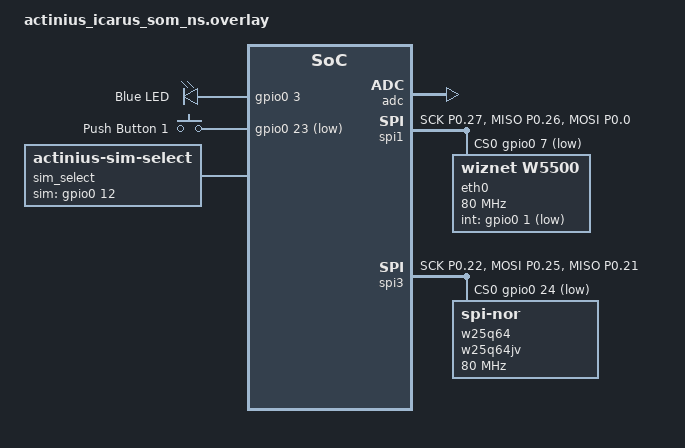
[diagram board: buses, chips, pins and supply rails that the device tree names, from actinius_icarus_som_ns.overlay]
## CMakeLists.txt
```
# SPDX-License-Identifier: Apache-2.0

cmake_minimum_required(VERSION 3.20.0)

set(PM_STATIC_YML_FILE ${CMAKE_CURRENT_SOURCE_DIR}/pm_static.yml)
#set(mcuboot_key_file ${CMAKE_CURRENT_SOURCE_DIR}/mcuboot.pem)
#set(mcuboot_CONFIG_BOOT_SIGNATURE_KEY_FILE "\"${mcuboot_key_file}\"")

find_package(Zephyr REQUIRED HINTS $ENV{ZEPHYR_BASE})
project(nRF9160_LTE_Ethernet_Gateway)

target_sources(app PRIVATE src/main.c)

target_sources(app PRIVATE src/nrf91/nrf91_lte.c)
target_sources(app PRIVATE src/nrf91/nrf91_at_commands.c)
target_sources(app PRIVATE src/nrf91/nrf91_util.c)

target_sources(app PRIVATE src/gateway.c)
target_sources(app PRIVATE src/arp_cache.c)
target_sources(app PRIVATE src/pmap.c)
```

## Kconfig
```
#
# Copyright (c) 2019 Nordic Semiconductor
#
# SPDX-License-Identifier: LicenseRef-Nordic-5-Clause
#

source "Kconfig.zephyr"

menu "nRF9160"

config SIM_SAKURA_IOT
	bool "SAKURA IoT SIM (44020,44051,44010)"
	default n

config SIM_SORACOM_PLAN_D
	bool "SORACOM PLAN-D SIM (44010)"
	default n


module = NRF91
module-str = nRF9160
source "${ZEPHYR_BASE}/subsys/logging/Kconfig.template.log_config"


endmenu
```

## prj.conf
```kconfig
#
# Copyright (c) 2020 Nordic Semiconductor ASA
#
# SPDX-License-Identifier: LicenseRef-Nordic-5-Clause
#

CONFIG_TRUSTED_EXECUTION_NONSECURE=y


#CONFIG_DEBUG=y
CONFIG_REBOOT=y

CONFIG_FPU=n
CONFIG_CMSIS_DSP=n

CONFIG_STACK_SENTINEL=y
CONFIG_NEWLIB_LIBC=y
CONFIG_NEWLIB_LIBC_FLOAT_PRINTF=y


CONFIG_GPIO=y

CONFIG_PM_DEVICE=y

CONFIG_STDOUT_CONSOLE=y
CONFIG_SERIAL=y
CONFIG_NRFX_UARTE0=y
CONFIG_LOG=y
CONFIG_LOG_MODE_IMMEDIATE=y
CONFIG_LOG_DEFAULT_LEVEL=3
CONFIG_PRINTK=y
CONFIG_UART_CONSOLE=y
CONFIG_CONSOLE_HANDLER=n
CONFIG_UART_LINE_CTRL=y
CONFIG_UART_INTERRUPT_DRIVEN=y

CONFIG_USE_SEGGER_RTT=n
#CONFIG_RTT_CONSOLE=n
#CONFIG_LOG_BACKEND_RTT=n

CONFIG_NETWORKING=y
CONFIG_NET_SOCKETS=y
CONFIG_NET_SOCKETS_OFFLOAD=y


CONFIG_NRF_MODEM_LIB=y
CONFIG_POSIX_MAX_FDS=10
CONFIG_NRF_MODEM_LIB_ON_FAULT_APPLICATION_SPECIFIC=n

#CONFIG_HEAP_MEM_POOL_SIZE=4096
CONFIG_HEAP_MEM_POOL_SIZE=4096
CONFIG_MAIN_STACK_SIZE=4096
#CONFIG_MAIN_STACK_SIZE=16384
#CONFIG_MAIN_STACK_SIZE=4096
#CONFIG_MAIN_STACK_SIZE=20000

CONFIG_LTE_LINK_CONTROL=y

CONFIG_DATE_TIME=n
CONFIG_MODEM_INFO=y
CONFIG_MODEM_INFO_ADD_DATE_TIME=n
CONFIG_AT_MONITOR=y
CONFIG_MODEM_JWT=n

CONFIG_NET_L2_ETHERNET=y


CONFIG_SPI=y

#CONFIG_ETH_ENC424J600=y
#CONFIG_ETH_ENC28J60=y
CONFIG_ETH_W5500=y

CONFIG_NET_IPV6=n
CONFIG_NET_IPV4=y
CONFIG_NET_ARP=y
CONFIG_NET_UDP=y
CONFIG_NET_TCP=y
CONFIG_NET_CONFIG_SETTINGS=y
CONFIG_NET_CONFIG_NEED_IPV4=y
CONFIG_NET_CONFIG_MY_IPV4_ADDR="192.168.63.1"
CONFIG_NET_CONFIG_MY_IPV4_GW="192.168.63.1"
CONFIG_NET_CONFIG_MY_IPV4_NETMASK="255.255.255.0"
CONFIG_NET_NATIVE=y
CONFIG_NET_SOCKETS_PACKET=y
CONFIG_NET_DEFAULT_IF_ETHERNET=y

CONFIG_SIM_SAKURA_IOT=n
CONFIG_SIM_SORACOM_PLAN_D=y
```

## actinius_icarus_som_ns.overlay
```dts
// To get started, press Ctrl+Space (or Option+Esc) to bring up the completion menu and view the available nodes.

// You can also use the buttons in the sidebar to perform actions on nodes.
// Actions currently available include:

// * Enabling / disabling the node
// * Adding the bus to a bus
// * Removing the node
// * Connecting ADC channels

// For more help, browse the DeviceTree documentation at https://docs.zephyrproject.org/latest/guides/dts/index.html
// You can also visit the nRF DeviceTree extension documentation at https://nrfconnect.github.io/vscode-nrf-connect/devicetree/nrfdevicetree.html
/*
 * Copyright (c) 2022 Actinius
 *
 * SPDX-License-Identifier: Apache-2.0
 */
 /delete-node/ &storage_partition;
 / {
     chosen {
         zephyr,console = &uart0;
         //zephyr,shell-uart = &uart1;
         //zephyr,uart-mcumgr = &uart1;
         //nordic,pm-ext-flash = &w25q64;
     };
 
     leds {
         compatible = "gpio-leds";
 
         blue_led: led_0 {
             gpios = <&gpio0 3 GPIO_ACTIVE_HIGH>;
             label = "Blue LED";
         };
     };
 
     buttons {
         compatible = "gpio-keys";
 
         button0: button_0 {
             gpios = <&gpio0 23 (GPIO_PULL_UP | GPIO_ACTIVE_LOW)>;
             label = "Push Button 1";
         };
     };
 
     aliases {
         led0 = &blue_led;
         sw0 = &button0;
         bootloader-led0 = &blue_led;
         mcuboot-button0 = &button0;
         mcuboot-led0 = &blue_led;
         watchdog0 = &wdt0;
         spi-flash0 = &w25q64;
     };
     sim_select: sim-select {
         compatible = "actinius-sim-select";
         sim-gpios = <&gpio0 12 GPIO_ACTIVE_HIGH>;
         sim = "external";
     };
 };
 


 &adc {
     status ="okay";
 };
 
 &gpiote {
     status = "okay";
 };
 
 &gpio0 {
     status = "okay";
 };
 
// &uart0 {
//     status = "disabled";
// };
// &uart1 {
//    status = "okay";
//
//    current-speed = <115200>;
//    pinctrl-0 = <&uart1_default>;
//    pinctrl-1 = <&uart1_sleep>;
//    pinctrl-names = "default", "sleep";
//};
 
 &spi1 {
	compatible = "nordic,nrf-spim";
	status = "okay";

	cs-gpios = <&gpio0 7 GPIO_ACTIVE_LOW>;

    pinctrl-0 = <&spi1_default>;
    pinctrl-1 = <&spi1_sleep>;
	pinctrl-names = "default", "sleep";
	eth0: eth0@0 {
        //compatible = "microchip,enc424j600";
		compatible = "wiznet,w5500";
		//compatible = "microchip,enc28j60";
		reg = <0>;
		spi-max-frequency = <80000000>;
        int-gpios = <&gpio0 1 GPIO_ACTIVE_LOW>;
        //local-mac-address = [XX XX XX XX XX XX];
    };
 };
 
 &i2c2 {
     status = "disabled";
 };

//&spi2 {
//    compatible = "nordic,nrf-spim";
//    status = "okay";
//
//    cs-gpios = <&gpio0 0 GPIO_ACTIVE_LOW>;
//
//    pinctrl-0 = <&spi2_default>;
//    pinctrl-1 = <&spi2_sleep>;
//    pinctrl-names = "default", "sleep";
//}; 


 &spi3 {
     compatible = "nordic,nrf-spim";
     status = "okay";
 
     cs-gpios = <&gpio0 24 GPIO_ACTIVE_LOW>;
 
     pinctrl-0 = <&spi3_default>;
     pinctrl-1 = <&spi3_sleep>;
     pinctrl-names = "default", "sleep";
     w25q64: w25q64jv@0 {
         compatible = "jedec,spi-nor";
         reg = <0>;
         spi-max-frequency = <80000000>;
         jedec-id = [ef 40 17];
         size = <0x4000000>;
         has-dpd;
         t-enter-dpd = <3500>;
         t-exit-dpd = <3500>;
     };
 };

 &pinctrl {
	uart1_default: uart1_default {
		group1 {
			psels = <NRF_PSEL(UART_TX, 0, 4)>,
				<NRF_PSEL(UART_RX, 0, 5)>;
		};
	};
	uart1_sleep: uart1_sleep {
		group1 {
			psels = <NRF_PSEL(UART_TX, 0, 4)>,
				<NRF_PSEL(UART_RX, 0, 5)>;
			low-power-enable;
		};
	};

	//spi2_default: spi2_default {
	//	group1 {
	//		psels = <NRF_PSEL(SPIM_SCK, 0, 20)>,
	//			<NRF_PSEL(SPIM_MOSI, 0, 19)>,
	//			<NRF_PSEL(SPIM_MISO, 0, 18)>;
	//	};
	//};
	//spi2_sleep: spi2_sleep {
	//	group1 {
	//		psels = <NRF_PSEL(SPIM_SCK, 0, 20)>,
	//			<NRF_PSEL(SPIM_MOSI, 0, 19)>,
	//			<NRF_PSEL(SPIM_MISO, 0, 18)>;
	//		low-power-enable;
	//	};
 //   };

    spi1_default: spi1_default {
        group1 {
            psels = <NRF_PSEL(SPIM_SCK, 0,27)>,
                <NRF_PSEL(SPIM_MISO, 0, 26)>,
                <NRF_PSEL(SPIM_MOSI, 0, 0)>;
        };
    };
    spi1_sleep: spi1_sleep {
        group1 {
            psels = <NRF_PSEL(SPIM_SCK, 0,27)>,
                <NRF_PSEL(SPIM_MISO, 0, 26)>,
                <NRF_PSEL(SPIM_MOSI, 0, 0)>;
            low-power-enable;
        };
    };

	spi3_default: spi3_default {
		group1 {
			psels = <NRF_PSEL(SPIM_SCK, 0, 22)>,
				<NRF_PSEL(SPIM_MOSI, 0, 25)>,
				<NRF_PSEL(SPIM_MISO, 0, 21)>;
		};
	};
	spi3_sleep: spi3_sleep {
		group1 {
			psels = <NRF_PSEL(SPIM_SCK, 0, 22)>,
				<NRF_PSEL(SPIM_MOSI, 0, 25)>,
				<NRF_PSEL(SPIM_MISO, 0, 21)>;
			low-power-enable;
		};
	};
};
 
```

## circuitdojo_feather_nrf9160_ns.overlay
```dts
// To get started, press Ctrl+Space (or Option+Esc) to bring up the completion menu and view the available nodes.

// You can also use the buttons in the sidebar to perform actions on nodes.
// Actions currently available include:

// * Enabling / disabling the node
// * Adding the bus to a bus
// * Removing the node
// * Connecting ADC channels

// For more help, browse the DeviceTree documentation at https://docs.zephyrproject.org/latest/guides/dts/index.html
// You can also visit the nRF DeviceTree extension documentation at https://nrfconnect.github.io/vscode-nrf-connect/devicetree/nrfdevicetree.html


&i2c1 {
	status = "disabled";
    /delete-node/ pcf85063a@51;
    ///delete-node/ lis2dh@18;
};

/ {
    chosen {
        zephyr,console = &uart0;
        //zephyr,shell-uart = &uart0;
        //zephyr,uart-mcumgr = &uart0;
        nordic,pm-ext-flash = &w25q32jv;
    };
};

&spi1 {
	compatible = "nordic,nrf-spim";
	status = "okay";

	cs-gpios = <&gpio0 18 GPIO_ACTIVE_LOW>;

	pinctrl-0 = <&spi1_default>;
	pinctrl-1 = <&spi1_sleep>;
	pinctrl-names = "default", "sleep";
	eth0: eth0@0 {
		compatible = "microchip,enc424j600";
		//compatible = "microchip,enc28j60";
		//compatible = "wiznet,w5500";
		reg = <0>;
		spi-max-frequency = <80000000>;
        int-gpios = <&gpio0 17 GPIO_ACTIVE_LOW>;
        //local-mac-address = [XX XX XX XX XX XX];
    };
};
&pinctrl {
	spi1_default: spi1_default {
		group1 {
			psels = <NRF_PSEL(SPIM_SCK, 0, 19)>,
				<NRF_PSEL(SPIM_MOSI, 0, 21)>,
				<NRF_PSEL(SPIM_MISO, 0, 22)>;
		};
	};

	spi1_sleep: spi1_sleep {
		group1 {
			psels = <NRF_PSEL(SPIM_SCK, 0, 19)>,
				<NRF_PSEL(SPIM_MOSI, 0, 21)>,
				<NRF_PSEL(SPIM_MISO, 0, 22)>;
			low-power-enable;
		};
	};
};
```

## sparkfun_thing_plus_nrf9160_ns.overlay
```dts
// To get started, press Ctrl+Space (or Option+Esc) to bring up the completion menu and view the available nodes.

// You can also use the buttons in the sidebar to perform actions on nodes.
// Actions currently available include:

// * Enabling / disabling the node
// * Adding the bus to a bus
// * Removing the node
// * Connecting ADC channels

// For more help, browse the DeviceTree documentation at https://docs.zephyrproject.org/latest/guides/dts/index.html
// You can also visit the nRF DeviceTree extension documentation at https://nrfconnect.github.io/vscode-nrf-connect/devicetree/nrfdevicetree.html

/ {
    chosen {
        zephyr,console = &uart0;
        //zephyr,shell-uart = &uart0;
        //zephyr,uart-mcumgr = &uart0;
        //nordic,pm-ext-flash = &w25q32jv;
    };
};

&spi1 {
	compatible = "nordic,nrf-spim";
	status = "okay";

	cs-gpios = <&gpio0 18 GPIO_ACTIVE_LOW>;

	pinctrl-0 = <&spi1_default>;
	pinctrl-1 = <&spi1_sleep>;
	pinctrl-names = "default", "sleep";
	eth0: eth0@0 {
		//compatible = "microchip,enc424j600";
		//compatible = "microchip,enc28j60";
		compatible = "wiznet,w5500";
		reg = <0>;
		spi-max-frequency = <80000000>;
        int-gpios = <&gpio0 17 GPIO_ACTIVE_LOW>;
        //local-mac-address = [XX XX XX XX XX XX]
    };
};
&pinctrl {
	spi1_default: spi1_default {
		group1 {
			psels = <NRF_PSEL(SPIM_SCK, 0, 19)>,
				<NRF_PSEL(SPIM_MOSI, 0, 21)>,
				<NRF_PSEL(SPIM_MISO, 0, 22)>;
		};
	};

	spi1_sleep: spi1_sleep {
		group1 {
			psels = <NRF_PSEL(SPIM_SCK, 0, 19)>,
				<NRF_PSEL(SPIM_MOSI, 0, 21)>,
				<NRF_PSEL(SPIM_MISO, 0, 22)>;
			low-power-enable;
		};
	};
};
```

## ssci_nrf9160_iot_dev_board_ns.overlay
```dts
// To get started, press Ctrl+Space (or Option+Esc) to bring up the completion menu and view the available nodes.

// You can also use the buttons in the sidebar to perform actions on nodes.
// Actions currently available include:

// * Enabling / disabling the node
// * Adding the bus to a bus
// * Removing the node
// * Connecting ADC channels

// For more help, browse the DeviceTree documentation at https://docs.zephyrproject.org/latest/guides/dts/index.html
// You can also visit the nRF DeviceTree extension documentation at https://nrfconnect.github.io/vscode-nrf-connect/devicetree/nrfdevicetree.html
/ {
    chosen {
        zephyr,console = &uart0;
        //zephyr,shell-uart = &uart0;
        //zephyr,uart-mcumgr = &uart0;
        nordic,pm-ext-flash = &mx25r64;
    };
};
/delete-node/ &uart0_default;
/delete-node/ &uart0_sleep;
&uart0 {
	compatible = "nordic,nrf-uarte";
	reg = <0x8000 0x1000>;
	interrupts = <8 NRF_DEFAULT_IRQ_PRIORITY>;
	pinctrl-0 = <&uart00_default>;
	pinctrl-1 = <&uart00_sleep>;
	status = "okay";
	current-speed = <115200>;
	pinctrl-names = "default", "sleep";
};
&spi1 {
	compatible = "nordic,nrf-spim";
	status = "okay";

	cs-gpios = <&gpio0 4 GPIO_ACTIVE_LOW>;

	pinctrl-0 = <&spi1_default>;
	pinctrl-1 = <&spi1_sleep>;
	pinctrl-names = "default", "sleep";
	eth0: eth0@0 {
		//compatible = "microchip,enc424j600";
		compatible = "wiznet,w5500";
		//compatible = "microchip,enc28j60";
		reg = <0>;
		spi-max-frequency = <80000000>;
        int-gpios = <&gpio0 7 GPIO_ACTIVE_LOW>;
        //reset-gpios = <&gpio0 5 GPIO_ACTIVE_LOW>;
		//local-mac-address = [XX XX XX XX XX XX]
    };
};
&spi3 {
	status = "okay";
	mx25r64: mx25r6435f@0 {
		status = "okay";
	};
};
&pinctrl {
	uart00_default: uart00_default {
		group1 {
			psels = <NRF_PSEL(UART_TX, 0, 29)>,
				<NRF_PSEL(UART_RX, 0, 28)>;
		};
	};
	uart00_sleep: uart00_sleep {
		group1 {
			psels = <NRF_PSEL(UART_TX, 0, 29)>,
				<NRF_PSEL(UART_RX, 0, 28)>;
		};
	};
	spi1_default: spi1_default {
		group1 {
			psels = <NRF_PSEL(SPIM_SCK, 0, 3)>,
				<NRF_PSEL(SPIM_MOSI, 0, 0)>,
				<NRF_PSEL(SPIM_MISO, 0, 1)>;
		};
	};

	spi1_sleep: spi1_sleep {
		group1 {
			psels = <NRF_PSEL(SPIM_SCK, 0, 3)>,
				<NRF_PSEL(SPIM_MOSI, 0, 0)>,
				<NRF_PSEL(SPIM_MISO, 0, 1)>;
			low-power-enable;
		};
	};
};
```

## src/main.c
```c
/*
 * Copyright (c) 2024 Akihiro Sakaniwa
 *
 * SPDX-License-Identifier: MIT License
 */
#include <zephyr/logging/log.h>
#include <zephyr/logging/log_ctrl.h>
#include <zephyr/net/net_pkt.h>
#include <stdio.h>
#include <stdlib.h>
#include <string.h>
#include <stdio.h>

#include <zephyr/kernel.h>
#include <zephyr/device.h>
#include <zephyr/devicetree.h>
#include <zephyr/drivers/uart.h>
#include <zephyr/drivers/gpio.h>

#include <modem/at_monitor.h>
#include <nrf_modem.h>
#include <nrf_errno.h>
#include <hal/nrf_gpio.h>
#include <hal/nrf_power.h>
#include <hal/nrf_regulators.h>
#include <modem/nrf_modem_lib.h>
#include <zephyr/sys/reboot.h>
#include <zephyr/init.h>
#include <zephyr/sys/reboot.h>
#include "ncs_version.h"

#include <nrf_socket.h>
#include <zephyr/net/socket.h>

#include "nrf91/nrf91_lte.h"

#include <modem/at_monitor.h>
#include <modem/modem_info.h>

#include "nrf91/nrf91_util.h"

#include "pmap.h"
#include "main.h"

LOG_MODULE_REGISTER(main, CONFIG_NRF91_LOG_LEVEL);

volatile bool on_req_eth_thread_terminate = false;
volatile bool on_eth_rx_thread_terminate = false;
volatile bool on_eth_tx_thread_terminate = false;
extern int eth_start(void);

extern bool is_cgev_act_on;
extern bool is_cgev_detach_on;


#ifdef CONFIG_BOARD_ACTINIUS_ICARUS_SOM_DK_NS
//const uint8_t led_pin = 3;
//const uint8_t btn_pin = 23;
#endif //CONFIG_BOARD_ACTINIUS_ICARUS_SOM_DK_NS
#ifdef CONFIG_BOARD_SPARKFUN_THING_PLUS_NRF9160_NS
const uint8_t status_led_pin = 3;
const uint8_t btn_pin = 12;
#endif //CONFIG_BOARD_SPARKFUN_THING_PLUS_NRF9160_NS
#ifdef CONFIG_BOARD_CIRCUITDOJO_FEATHER_NRF9160_NS
const uint8_t status_led_pin = 3;
const uint8_t btn_pin = 12;
#endif
#ifndef CONFIG_BOARD_ACTINIUS_ICARUS_SOM_DK_NS
#ifndef CONFIG_BOARD_SPARKFUN_THING_PLUS_NRF9160_NS
#ifndef CONFIG_BOARD_CIRCUITDOJO_FEATHER_NRF9160_NS
const uint8_t status_led_pin = 20; // SSCI IoT Board
const uint8_t btn_pin = 6; // SSICC IoT Board
#endif
#endif
#endif


const struct device *gpio_dev;
//const struct device *flash_dev = DEVICE_DT_GET_ONE(jedec_spi_nor);

extern void nrf91_lte_main(int (*cbf)(void));
extern bool nrf91_lte_thread_start(void);

volatile bool is_on_buttun_up = false;
volatile bool is_on_buttun_up_mask = false;

//////////////////////////////////////////////////////////////////////////////////////////////////////
void button_callback_handler(const struct device *port, struct gpio_callback *cb, gpio_port_pins_t pins)
{
  printk("\r\n(%08x)!\r\n",pins);
  if ((BIT(btn_pin) & pins) > 0) 
  {
      if (!is_on_buttun_up_mask) is_on_buttun_up = true;
  }
}
static struct gpio_callback button_callback;
////////////////////////////////////////////////////////////////////////////////////////////////////
void error_handler(void)
{
    LOG_WRN("\r\n### POWER-OFF ###\r\n");
    while (1)
    {
        k_sleep(K_MSEC(100));
    }
}
////////////////////////////////////////////////////////////////////////////////////////////////////
void status_led_on(void)
{
    gpio_pin_set(gpio_dev,status_led_pin,1);
}
void status_led_off(void)
{
    gpio_pin_set(gpio_dev,status_led_pin,0);
}
int read_btn(void)
{
  return gpio_pin_get(gpio_dev, btn_pin);
}
////////////////////////////////////////////////////////////////////////////////////////////////////
static int cbf_main(void)
{
    LOG_INF("PORT-MAP = %3u[%%]",pmap_status());
    k_sleep(K_MSEC(10*1000));
    return 0;
}
////////////////////////////////////////////////////////////////////////////////////////////////////
int main(void)
{
    printk("%s\r\n", CONFIG_BOARD);

#ifdef CONFIG_SERIAL
    NRF_UARTE0_NS->TASKS_STOPRX = 1;
#endif

    gpio_dev = DEVICE_DT_GET(DT_NODELABEL(gpio0)); 
    #ifdef CONFIG_BOARD_SPARKFUN_THING_PLUS_NRF9160_NS
    gpio_pin_configure(gpio_dev, status_led_pin , GPIO_OUTPUT | GPIO_PUSH_PULL | GPIO_ACTIVE_LOW);
    gpio_pin_configure(gpio_dev, btn_pin , GPIO_INPUT  | GPIO_PULL_UP   | GPIO_ACTIVE_HIGH);
    //gpio_pin_configure(gpio_dev, buz_pin , GPIO_OUTPUT | GPIO_PUSH_PULL | GPIO_ACTIVE_HIGH);
    #else
    #ifdef CONFIG_BOARD_CIRCUITDOJO_FEATHER_NRF9160_NS
    gpio_pin_configure(gpio_dev, status_led_pin , GPIO_OUTPUT | GPIO_PUSH_PULL | GPIO_ACTIVE_LOW);
    gpio_pin_configure(gpio_dev, btn_pin , GPIO_INPUT  | GPIO_PULL_UP   | GPIO_ACTIVE_HIGH);
    #else
    gpio_pin_configure(gpio_dev, status_led_pin , GPIO_OUTPUT | GPIO_PUSH_PULL | GPIO_ACTIVE_HIGH);
    gpio_pin_configure(gpio_dev, btn_pin , GPIO_INPUT  | GPIO_PULL_UP   | GPIO_ACTIVE_HIGH);
    #endif
    #endif
    status_led_off();

    gpio_init_callback(&button_callback, button_callback_handler, BIT(btn_pin));
    gpio_add_callback(gpio_dev, &button_callback);
    gpio_pin_interrupt_configure(gpio_dev, btn_pin, GPIO_INT_EDGE_RISING);

    int ret = nrf_modem_lib_init();
    if (ret)
    {
        LOG_ERR("Modem library init failed, err: %d", ret);
        if (ret != -EAGAIN && ret != -EIO)
        {
            return ret;
        }
        else if (ret == -EIO)
        {
            LOG_ERR("Please program full modem firmware with the bootloader or external tools");
        }
    }
    ret = modem_info_init();
    if (ret)
    {
        LOG_ERR("Failed to init modem_info_init: %d", ret);
        return(0);
    }

    if (0 != eth_start()) return 0;
    nrf91_lte_main(cbf_main);

    return 0;
}
// EOF //
```

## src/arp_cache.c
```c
/*
 * Copyright (c) 2024 Akihiro Sakaniwa
 *
 * SPDX-License-Identifier: MIT License
 */
#include "arp_cache.h"
#include <zephyr/logging/log.h>
#include <zephyr/logging/log_ctrl.h>

LOG_MODULE_REGISTER(arp_cache, CONFIG_NRF91_LOG_LEVEL);
extern struct net_context* ctx_tx;
extern struct net_if *eth_iface;
arp_cache_tbl_t arp_cache;

extern uint8_t my_eth_ip_addr[6];
extern uint8_t my_eth_mac_addr[6];

static const uint8_t bc_mac[]={0xff,0xff,0xff,0xff,0xff,0xff};

static bool is_timeout(uint32_t timeout_ms,uint32_t start_ms,uint32_t current_ms)
{
    if (start_ms <= current_ms)
    {
        return ((current_ms - start_ms) >= timeout_ms);
    }
    else
    {
        return ((0xFFFFFFFFUL - start_ms + current_ms + 1) >= timeout_ms);
    }
}
static void eth_send_cb(struct net_context *context, int status, void *user_data)
{
    //printk("send_cb: %d\r\n",status);
}


static void __gc_arp_cache(uint32_t timeout_ms)
{
    for (int i = 0; i < MAX_ARP_CACHE_ROWS; i++)
    {
        if (arp_cache.row[i].ip == 0) continue;
        if (is_timeout(timeout_ms,arp_cache.row[i].ts,k_uptime_get_32()))
        {
//Serial.printf("GC\r\n");
            arp_cache.row[i].ip = 0;
        }
    }
}
arp_cache_row_t* search_arp_cache_empty(void)
{
    {
        __gc_arp_cache(ARP_CACHE_TIMEOUT_MS);
        for (int i = 0; i < MAX_ARP_CACHE_ROWS; i++)
        {
            if (arp_cache.row[i].ip == 0) return &arp_cache.row[i];
        }
    }
    return NULL;
}
arp_cache_row_t* search_arp_cache_by_ip(uint32_t tgt_ip)
{
    {
        __gc_arp_cache(ARP_CACHE_TIMEOUT_MS);
        for (int i = 0; i < MAX_ARP_CACHE_ROWS; i++)
        {
            uint32_t ip = arp_cache.row[i].ip;
            if (ip == 0) continue;
            if (ip == tgt_ip) 
            {
//Serial.printf("HIT\r\n");
                return &arp_cache.row[i];
            }
        }
    }
    return NULL;
}
arp_cache_row_t* update_arp_cache_by_ip(uint32_t tgt_ip, uint8_t* mac)
{
    {
        __gc_arp_cache(ARP_CACHE_TIMEOUT_MS);
        arp_cache_row_t* empty = NULL;
        for (int i = 0; i < MAX_ARP_CACHE_ROWS; i++)
        {
            uint32_t ip = arp_cache.row[i].ip;
            if (ip == 0)
            {
                if (!empty) empty = &arp_cache.row[i];
                continue;
            }
            if (ip == tgt_ip)
            {
//Serial.printf("update %02x:%02x:%02x:%02x:%02x:%02x\r\n",mac[0],mac[1],mac[2],mac[3],mac[4],mac[5]);
                memcpy(arp_cache.row[i].mac,mac,6);
                arp_cache.row[i].ts = k_uptime_get_32();
                return &arp_cache.row[i];
            }
        }
        if (empty)
        {
//Serial.printf("add %02x:%02x:%02x:%02x:%02x:%02x\r\n",mac[0],mac[1],mac[2],mac[3],mac[4],mac[5]);
            memcpy(empty->mac,mac,6);
            empty->ts = k_uptime_get_32();
            empty->ip = tgt_ip;
            return empty;
        }
    }
    return NULL;
}
//static volatile bool lock_resolve_arp = false;
bool resolve_arp(uint32_t tgt_ip, uint8_t *mac, uint32_t timeout_ms, bool use_arp_cache)
{
    uint32_t ts = k_uptime_get_32();
    static pkt_arp_t pkt_arp_req;

    if (!eth_iface)
    {
        return false;
    }

    if (use_arp_cache)
    {
        arp_cache_row_t* r = search_arp_cache_by_ip(tgt_ip);
        if (r)
        {
//Serial.printf("cache\r\n");
            memcpy(mac,r->mac,6);
            return true;
        }
    }
    //while (lock_resolve_arp)
    //{
    //    if(is_timeout(timeout_ms,ts,k_uptime_get_32()))
    //    {
    //        return false;
    //    }
    //    k_sleep(K_USEC(1));
    //};
    //lock_resolve_arp = true;
    {
        memset(&pkt_arp_req,0,sizeof(pkt_arp_req));
        memset(pkt_arp_req.eth_dst_mac,0xFF,6);
        memcpy(pkt_arp_req.eth_src_mac,my_eth_mac_addr,6);
        pkt_arp_req.frame_type[0]   = 0x08;
        pkt_arp_req.frame_type[1]   = 0x06;
        pkt_arp_req.htype[0]        = 0x00;
        pkt_arp_req.htype[1]        = 0x01;
        pkt_arp_req.ptype[0]        = 0x08;
        pkt_arp_req.ptype[1]        = 0x00;
        pkt_arp_req.hsz[0]          = 0x06;
        pkt_arp_req.psz[0]          = 0x04;
        pkt_arp_req.operation[0]    = 0x00;
        pkt_arp_req.operation[1]    = 0x01;
        memcpy(pkt_arp_req.src_mac,my_eth_mac_addr,6);
        memcpy(pkt_arp_req.src_ip,my_eth_ip_addr,4);
        memset(pkt_arp_req.dst_mac,0,6);
        memcpy(pkt_arp_req.dst_ip,(uint8_t*)&tgt_ip,4);
//for(int i = 0; i < sizeof(pkt_arp_req);i++)
//{
//    if (i % 16 == 0) Serial.printf("\r\n");
//    Serial.printf("%02x ",((uint8_t*)&pkt_arp_req)[i]);
//}
//Serial.printf("\r\n");
        struct sockaddr_ll tgt_addr;
        memset(&tgt_addr,0,sizeof(tgt_addr));
        memset(tgt_addr.sll_addr,0xFF,6);
        tgt_addr.sll_family = AF_PACKET;
        tgt_addr.sll_protocol = 0x0806;
        tgt_addr.sll_hatype = 1;
        tgt_addr.sll_ifindex = 0;
        tgt_addr.sll_halen = 6;
        tgt_addr.sll_pkttype = PACKET_BROADCAST;
        int r = net_context_sendto(ctx_tx, &pkt_arp_req, sizeof(pkt_arp_req),(struct sockaddr *)&tgt_addr,sizeof(tgt_addr),eth_send_cb,K_MSEC(1000),NULL);
        if (r <= 0)
        {
            LOG_ERR("ARP ETH_TX error send (%d)",r);
        }
        else
        {
//Serial.printf("arp send\r\n");
            while (!is_timeout(timeout_ms,ts,k_uptime_get_32()))
            {
                arp_cache_row_t* r = search_arp_cache_by_ip(tgt_ip);
                if (r)
                {
//Serial.printf("resolve %02x:%02x:%02x:%02x:%02x:%02x\r\n",r->mac[0],r->mac[1],r->mac[2],r->mac[3],r->mac[4],r->mac[5]);
                    memcpy(mac,r->mac,6);
                    return true;
                }
                k_sleep(K_USEC(1));
            }
        }
    }
    //lock_resolve_arp = false;
    return false;
 
}
void operate_packet_arp(uint8_t *buffer, uint32_t length)
{
//printk("__ARP__\r\n");
    //static pkt_arp_t pkt_arp_ack;
    if (length < 42) return;
//printk("__ARP__1\r\n");
    if (0 != memcmp(&buffer[14+24],my_eth_ip_addr,4)) return;
//printk("__ARP__2\r\n");
    uint16_t htype = (((uint16_t)buffer[14+0]) << 8) + ((uint16_t)buffer[14+1]);
    if (htype != 0x0001) return;
//printk("__ARP__3\r\n");
    uint16_t ptype = (((uint16_t)buffer[14+2]) << 8) + ((uint16_t)buffer[14+3]);
    if (ptype != 0x0800) return;
//printk("__ARP__4\r\n");
    if (buffer[14+4] != 0x06) return; // HARD SIZE
//printk("__ARP__5\r\n");
    if (buffer[14+5] != 0x04) return; // PROTOCOL SIZE
    uint16_t operation = (((uint16_t)buffer[14+6]) << 8) + ((uint16_t)buffer[14+7]);
//printk("__ARP__6\r\n");

    if ( (operation == 0x0001) && (0 == memcmp(&buffer[0],bc_mac,6)) )
    {
        update_arp_cache_by_ip(*(uint32_t*)(&buffer[14+14]),&buffer[14+8]);
    }
    else if ( (operation == 0x0002) && (0 == memcmp(&buffer[0],my_eth_mac_addr,6)) )
    {
    // get  ARP RESPONCE, update ARP CACHE
        pkt_arp_t* arp = (pkt_arp_t*)buffer;
//Serial.printf("resolve %02x:%02x:%02x:%02x:%02x:%02x\r\n",arp->src_mac[0],arp->src_mac[1],arp->src_mac[2],arp->src_mac[3],arp->src_mac[4],arp->src_mac[5]);
        update_arp_cache_by_ip(*(uint32_t*)(arp->src_ip),arp->src_mac);        
    }
}
```

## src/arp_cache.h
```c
/*
 * Copyright (c) 2024 Akihiro Sakaniwa
 *
 * SPDX-License-Identifier: MIT License
 */
#ifndef __ARP_H__
#define __ARP_H__

#include <zephyr/kernel.h>
#include <zephyr/net/net_pkt.h>
#include <zephyr/net/net_if.h>
#include <zephyr/net/net_l2.h>
#include <zephyr/net/net_ip.h>
#include <zephyr/net/net_core.h>
#include <zephyr/net/net_context.h>

#define ARP_CACHE_TIMEOUT_MS (20*60*1000)
#define MAX_ARP_CACHE_ROWS (96)

typedef struct __arp_cache_row_t
{
    uint32_t ip;
    uint8_t  mac[6];
    uint32_t ts;
} arp_cache_row_t;

typedef struct __arp_cache_tbl_t
{
    arp_cache_row_t  row[MAX_ARP_CACHE_ROWS];
} arp_cache_tbl_t;

typedef struct __pkt_arp_t
{
    uint8_t     eth_dst_mac[6];
    uint8_t     eth_src_mac[6];
    uint8_t     frame_type[2];

    uint8_t     htype[2];
    uint8_t     ptype[2];
    uint8_t     hsz[1];
    uint8_t     psz[1];
    uint8_t     operation[2];
    uint8_t     src_mac[6];
    uint8_t     src_ip[4];
    uint8_t     dst_mac[6];
    uint8_t     dst_ip[4];
    uint8_t     padding[18];
} pkt_arp_t;

extern arp_cache_tbl_t arp_cache;

void operate_packet_arp(uint8_t *buffer, uint32_t length);

void gc_arp_cache(uint32_t timeout_ms);
arp_cache_row_t* search_arp_cache_empty(void);
arp_cache_row_t* search_arp_cache_by_ip(uint32_t tgt_ip);
arp_cache_row_t* update_arp_cache_by_ip(uint32_t tgt_ip, uint8_t* mac);
bool resolve_arp(uint32_t tgt_ip, uint8_t *mac, uint32_t timeout_ms, bool use_arp_cache);


#endif  // __ARP_H__
```

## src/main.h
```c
/*
 * Copyright (c) 2024 Akihiro Sakaniwa
 *
 * SPDX-License-Identifier: MIT License
 */
#ifndef __MAIN_H
#define __MAIN_H
#include <zephyr/kernel.h>
#include <stdint.h>
#define NRF9160_MTU    (1280)

#endif //__MAIN_H
```

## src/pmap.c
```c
/*
 * Copyright (c) 2024 Akihiro Sakaniwa
 *
 * SPDX-License-Identifier: MIT License
 */
#include "pmap.h"
#include <zephyr/logging/log.h>
#include <zephyr/logging/log_ctrl.h>

LOG_MODULE_REGISTER(pmap, CONFIG_NRF91_LOG_LEVEL);
extern struct net_context* ctx_tx;
extern struct net_if *eth_iface;
pmap_tbl_t pmap;

static bool is_timeout(uint32_t timeout_ms,uint32_t start_ms,uint32_t current_ms)
{
    if (start_ms <= current_ms)
    {
        return ((current_ms - start_ms) >= timeout_ms);
    }
    else
    {
        return ((0xFFFFFFFFUL - start_ms + current_ms + 1) >= timeout_ms);
    }
}
static void __gc_pmap(uint32_t timeout_ms)
{
    for (int i = 0; i < MAX_PMAP_ROWS; i++)
    {
        if (pmap.row[i].ip_protocol == 0) continue;
        if (is_timeout(timeout_ms,pmap.row[i].ts,k_uptime_get_32()))
        {
            pmap.row[i].ip_protocol = 0;
            pmap.row[i].server_ip   = 0;
            pmap.row[i].client_ip   = 0;
            pmap.row[i].lte_port    = 0;
            pmap.row[i].eth_port    = 0;
        }
    }
}
pmap_row_t* search_pmap_empty(void)
{
    __gc_pmap(PMAP_TIMEOUT_MS);
    for (int i = 0; i < MAX_PMAP_ROWS; i++)
    {
        if (pmap.row[i].ip_protocol == 0) return &pmap.row[i];
    }
    return NULL;
}
pmap_row_t* search_pmap_by_server_info(uint8_t ip_protocol,uint32_t server_ip,uint16_t lte_port)
{
    __gc_pmap(PMAP_TIMEOUT_MS);
    for (int i = 0; i < MAX_PMAP_ROWS; i++)
    {
        uint8_t protocol = pmap.row[i].ip_protocol;
        uint16_t port = pmap.row[i].lte_port;
        uint32_t ip = pmap.row[i].server_ip;
        if (protocol == 0) continue;
        if (protocol == ip_protocol && ip == server_ip && port == lte_port) 
        {
//printk("HIT search_pmap_by_server_info\r\n");
            pmap.row[i].ts = k_uptime_get_32();
            return &pmap.row[i];
        }
    }
    return NULL;
}
pmap_row_t* search_pmap_by_client_info(uint8_t ip_protocol,uint32_t client_ip,uint16_t eth_port)
{
    __gc_pmap(PMAP_TIMEOUT_MS);
    for (int i = 0; i < MAX_PMAP_ROWS; i++)
    {
        uint8_t protocol = pmap.row[i].ip_protocol;
        uint16_t port = pmap.row[i].eth_port;
        uint32_t ip = pmap.row[i].client_ip;
        if (protocol == 0) continue;
        if (protocol == ip_protocol && ip == client_ip && port == eth_port) 
        {
//printk("HIT search_pmap_by_client_info\r\n");
            pmap.row[i].ts = k_uptime_get_32();
            return &pmap.row[i];
        }
    }
    return NULL;
}
pmap_row_t* update_pmap_by_serevr_info(uint8_t ip_protocol,uint32_t server_ip, uint16_t lte_port)
{
    __gc_pmap(PMAP_TIMEOUT_MS);
    for (int i = 0; i < MAX_PMAP_ROWS; i++)
    {
        uint8_t protocol = pmap.row[i].ip_protocol;
        uint16_t port = pmap.row[i].lte_port;
        uint32_t ip = pmap.row[i].server_ip;
        if (protocol == 0)
        {
            continue;
        }
        if (protocol == ip_protocol && ip == server_ip && port == lte_port)
        {
//printk("HIT update_pmap_by_serevr_info\r\n");
            pmap.row[i].ts = k_uptime_get_32();
            return &pmap.row[i];
        }
    }
    return NULL;
}
pmap_row_t* update_pmap_by_client_info(uint8_t ip_protocol,uint32_t client_ip, uint16_t eth_port)
{
    __gc_pmap(PMAP_TIMEOUT_MS);
    for (int i = 0; i < MAX_PMAP_ROWS; i++)
    {
        uint8_t protocol = pmap.row[i].ip_protocol;
        uint16_t port = pmap.row[i].eth_port;
        uint32_t ip = pmap.row[i].client_ip;
        if (protocol == 0)
        {
            continue;
        }
        if (protocol == ip_protocol && ip == client_ip && port == eth_port)
        {
//printk("HIT update_pmap_by_client_info\r\n");
            pmap.row[i].ts = k_uptime_get_32();
            return &pmap.row[i];
        }
    }
    return NULL;
}
void remove_pmap_by_serevr_info(uint8_t ip_protocol,uint32_t server_ip, uint16_t lte_port)
{
    __gc_pmap(PMAP_TIMEOUT_MS);
    for (int i = 0; i < MAX_PMAP_ROWS; i++)
    {
        uint8_t protocol = pmap.row[i].ip_protocol;
        uint16_t port = pmap.row[i].lte_port;
        uint32_t ip = pmap.row[i].server_ip;
        if (protocol == 0)
        {
            continue;
        }
        if (protocol == ip_protocol && ip == server_ip && port == lte_port)
        {
            pmap.row[i].ip_protocol = 0;
            pmap.row[i].server_ip   = 0;
            pmap.row[i].client_ip   = 0;
            pmap.row[i].lte_port    = 0;
            pmap.row[i].eth_port    = 0;
            pmap.row[i].ts          = 0;
            return;
        }
    }
    return;
}
void remove_pmap_by_client_info(uint8_t ip_protocol,uint32_t client_ip, uint16_t eth_port)
{
    __gc_pmap(PMAP_TIMEOUT_MS);
    for (int i = 0; i < MAX_PMAP_ROWS; i++)
    {
        uint8_t protocol = pmap.row[i].ip_protocol;
        uint16_t port = pmap.row[i].eth_port;
        uint32_t ip = pmap.row[i].client_ip;
        if (protocol == 0)
        {
            continue;
        }
        if (protocol == ip_protocol && ip == client_ip && port == eth_port)
        {
            pmap.row[i].ip_protocol = 0;
            pmap.row[i].server_ip   = 0;
            pmap.row[i].client_ip   = 0;
            pmap.row[i].lte_port    = 0;
            pmap.row[i].eth_port    = 0;
            pmap.row[i].ts          = 0;
            return;
        }
    }
    return;
}
void init_pmap(void)
{
    memset(&pmap,0,sizeof(pmap));
}
pmap_row_t* add_pmap(uint8_t ip_protocol, uint32_t client_ip,uint16_t eth_port,uint32_t server_ip,uint16_t lte_port)
{
    __gc_pmap(PMAP_TIMEOUT_MS);
    pmap_row_t* row = search_pmap_empty();
//printk("empty row : %04x\r\n",(uint32_t)row);
    if (row == NULL) return NULL;
    row->ip_protocol = ip_protocol;
    row->client_ip   = client_ip;
    row->eth_port    = eth_port;
    row->server_ip   = server_ip;
    row->lte_port    = lte_port;
    row->ts          = k_uptime_get_32();
    return row;
}

uint8_t pmap_status(void)
{
    uint32_t cnt = 0;
    for (int i = 0; i < MAX_PMAP_ROWS; i++)
    {
        if (pmap.row[i].ip_protocol == 0)
        {
            continue;
        }
        cnt++;
    }
    return (uint8_t)(cnt * 100 / MAX_PMAP_ROWS);
}
```

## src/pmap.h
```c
/*
 * Copyright (c) 2024 Akihiro Sakaniwa
 *
 * SPDX-License-Identifier: MIT License
 */
#ifndef __PMAP_H__
#define __PMAP_H__

#include <zephyr/kernel.h>

#define PMAP_TIMEOUT_MS (20*1000)
#define MAX_PMAP_ROWS (2048)

typedef struct __pmap_row_t
{
    uint8_t  ip_protocol;
    uint32_t client_ip;
    uint16_t eth_port;
    uint32_t server_ip;
    uint16_t lte_port;
    uint32_t ts;
} pmap_row_t;

typedef struct __pmap_tbl_t
{
    pmap_row_t  row[MAX_PMAP_ROWS];
} pmap_tbl_t;

extern pmap_tbl_t pmap;

uint8_t pmap_status(void);
void gc_pmap(uint32_t timeout_ms);
pmap_row_t* search_pmap_empty(void);
pmap_row_t* search_pmap_by_server_info(uint8_t ip_protocol, uint32_t server_ip,uint16_t lte_port);
pmap_row_t* search_pmap_by_client_info(uint8_t ip_protocol, uint32_t client_ip,uint16_t eth_port);
pmap_row_t* update_pmap_by_server_info(uint8_t ip_protocol, uint32_t server_ip,uint16_t lte_port);
pmap_row_t* update_pmap_by_client_info(uint8_t ip_protocol, uint32_t client_ip,uint16_t eth_port);
void remove_pmap_by_server_info(uint8_t ip_prorocol, uint32_t server_ip,uint16_t lte_port);
void remove_pmap_by_client_info(uint8_t ip_prorocol, uint32_t client_ip,uint16_t eth_port);
pmap_row_t* add_pmap(uint8_t ip_protocol, uint32_t client_ip,uint16_t eth_port,uint32_t server_ip,uint16_t lte_port);

void init_pmap(void);

#endif  // __PMAP_H__
```
